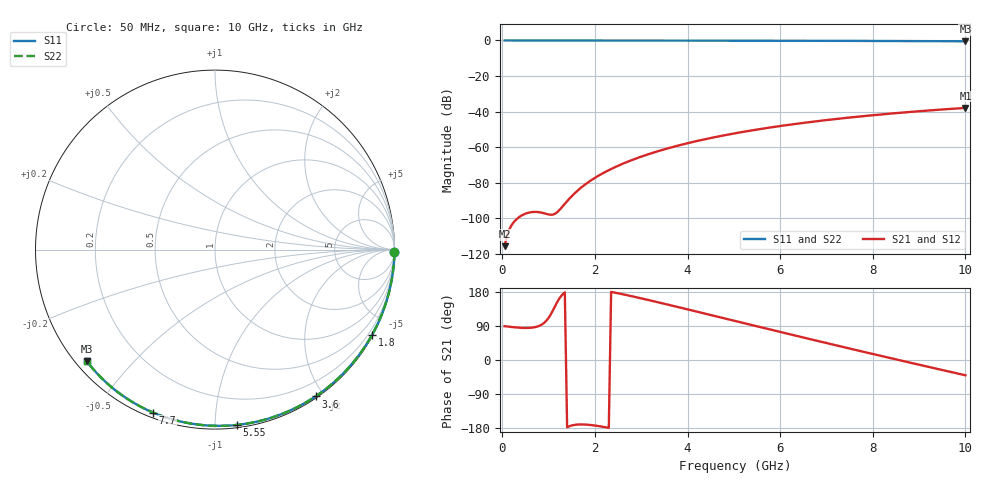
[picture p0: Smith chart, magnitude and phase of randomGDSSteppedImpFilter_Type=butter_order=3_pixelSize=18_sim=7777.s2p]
! freq	dB(S11)	phase(S11)	dB(S12)	phase(S12)
!  dB(S21)	phase(S21)	dB(S22)	phase(S22)
!S-par simulation data
#  GHz  S  DB  R 50
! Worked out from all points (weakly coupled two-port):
!   200 points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, 50 MHz to 10 GHz, reference 50 ohm
!   highest |S21| = -37.96 dB at 10 GHz (marker M1); lowest = -115.8 dB at 50 MHz (marker M2)
!   lowest |S11| = -0.5 dB at 10 GHz (marker M3), VSWR 37.03, Z = 1.54 - j18.7 ohm
!   |S11| at or under -10 dB: nowhere
!   |S22| runs from -0.5 to 0.0 dB; largest |S21 - S12| = 0
!   S11 on the Smith chart (normalised r, x): 50 MHz: open; 1.8 GHz: 0.03, -3.94; 3.6 GHz: 0.02, -1.90; 5.55 GHz: 0.02, -1.13; 7.7 GHz: 0.02, -0.69; 10 GHz: 0.03, -0.37
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0.05  -0.00 -0.8  -115.79 89.3  -115.79 89.3  -0.00 -0.8
0.45  -0.01 -7.2  -98.07 84.7  -98.07 84.7  -0.01 -7.2
0.9  -0.02 -14.4  -97.25 97.6  -97.25 97.6  -0.02 -14.4
1.75  -0.04 -27.7  -81.83 -170.1  -81.83 -170.1  -0.04 -27.7
1.8  -0.04 -28.5  -80.85 -170.4  -80.85 -170.4  -0.04 -28.5
1.85  -0.04 -29.2  -79.91 -170.9  -79.91 -170.9  -0.04 -29.2
2  -0.04 -31.6  -77.34 -172.9  -77.34 -172.9  -0.04 -31.6
2.15  -0.04 -33.9  -75.05 -175.7  -75.05 -175.7  -0.04 -33.9
2.35  -0.05 -36.9  -72.35 179.8  -72.35 179.8  -0.05 -36.9
2.55  -0.05 -40.0  -69.95 174.9  -69.95 174.9  -0.05 -40.0
2.95  -0.06 -46.0  -65.86 164.1  -65.86 164.1  -0.06 -46.0
3.4  -0.07 -52.7  -62.04 151.3  -62.04 151.3  -0.07 -52.7
3.6  -0.07 -55.6  -60.54 145.4  -60.54 145.4  -0.07 -55.6
4.3  -0.09 -65.7  -56.04 124.7  -56.04 124.7  -0.09 -65.7
5.05  -0.12 -76.1  -52.14 102.3  -52.14 102.3  -0.12 -76.1
5.55  -0.14 -83.0  -49.94 87.4  -49.94 87.4  -0.14 -82.9
6.1  -0.16 -90.3  -47.80 71.1  -47.80 71.1  -0.16 -90.3
6.7  -0.19 -98.1  -45.75 53.5  -45.75 53.5  -0.19 -98.1
7.7  -0.25 -110.8  -42.85 24.5  -42.85 24.5  -0.25 -110.8
8.35  -0.30 -118.8  -41.25 5.9  -41.25 5.9  -0.30 -118.8
9.2  -0.38 -129.2  -39.43 -18.1  -39.43 -18.1  -0.38 -129.2
10  -0.47 -138.9  -37.96 -40.3  -37.96 -40.3  -0.47 -138.9
